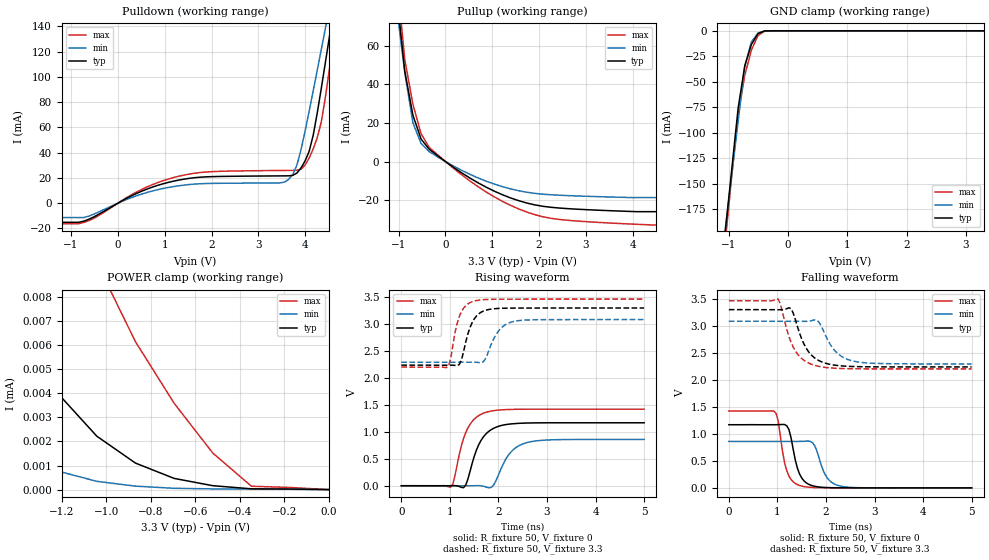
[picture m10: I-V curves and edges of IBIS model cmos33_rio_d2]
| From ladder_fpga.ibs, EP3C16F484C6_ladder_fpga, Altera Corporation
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[Model] cmos33_rio_d2
Model_type I/O
Polarity Non-Inverting
Enable Active-Low
Vinl  = 0.8V
Vinh  = 1.7V
Vmeas = 1.5425V
Rref  = 10M
Cref  = 0pF
Vref  = 0V
C_comp  4.4pF   4.4pF   4.4pF
[Temperature Range] 25   85   0
[Voltage Range]   3.3   3.085   3.465
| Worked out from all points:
|   slope of the pulldown table from 0 to 0.495 V, typ, clamps not added: 53.2 ohm
|   slope of the pullup table from 0 to 0.495 V, typ, clamps not added: 60.7 ohm
|   GND clamp passes 1 mA (typ) near -0.43 V on its own axis
|   rising waveform, R_fixture 50, V_fixture 0: 20-80 % time 311ps typ, 344ps min, 288ps max; typ from 0 V to 1.17 V
|   falling waveform, R_fixture 50, V_fixture 0: 20-80 % time 191ps typ, 226ps min, 175ps max; typ from 1.17 V to 0 V
|   rising waveform, R_fixture 50, V_fixture 3.3: 20-80 % time 225ps typ, 278ps min, 195ps max; typ from 2.24 V to 3.3 V
|   falling waveform, R_fixture 50, V_fixture 3.3: 20-80 % time 330ps typ, 353ps min, 320ps max; typ from 3.3 V to 2.24 V
[GND Clamp]
| voltage   I (typ)   I (min)   I (max)
-3.3V     -1.449A    -1.286A    -1.533A
-1.063V   -200.8mA   -197.7mA   -211mA
-950.8mV  -138.4mA   -143.3mA   -144.9mA
-839mV    -75.96mA   -88.9mA    -82.12mA
-727.1mV  -34.33mA   -34.92mA   -43.75mA
-615.2mV  -13.39mA   -10.72mA   -18.82mA
-503.4mV  -2.65mA    -2.136mA   -4.609mA
-391.5mV  -131.9uA   -144.2uA   -303.1uA
-279.7mV  -2.477uA   -5.258uA   -4.774uA
3.3V      0A         0A         0A
[Pulldown]
| voltage   I (typ)   I (min)   I (max)
-3.3V     -15.12mA   -11.37mA   -16.31mA
-839mV    -15.12mA   -11.37mA   -16.31mA
1.175V    17.34mA    13.09mA    20.17mA
3.561V    21.62mA    16.8mA     25.92mA
3.821V    23.89mA    30.18mA    26.08mA
4.082V    41.02mA    72.76mA    35.77mA
4.255V    71.52mA    105.4mA    51.87mA
4.429V    111.5mA    138.4mA    84mA
4.516V    132mA      154.9mA    106.6mA
4.603V    152.5mA    171.4mA    130.1mA
4.689V    172.9mA    187.8mA    153.8mA
6.6V      569.1mA    530.5mA    600.9mA
[POWER Clamp]
| voltage   I (typ)   I (min)   I (max)
-3.3V     255.8uA    174.6uA    337.7uA
-1.911V   28.08uA    11.14uA    68.9uA
-1.737V   17.97uA    6.876uA    39.23uA
-1.563V   11.64uA    3.732uA    28uA
-1.389V   6.958uA    1.745uA    19.82uA
-1.216V   3.98uA     766.9nA    13.7uA
-1.042V   2.218uA    344.4nA    9.42uA
-868.4mV  1.101uA    143.7nA    6.142uA
-694.7mV  465.5nA    54.34nA    3.587uA
-521.1mV  162.3nA    28.75nA    1.518uA
-347.4mV  32.72nA    21.8nA     140nA
0V        0A         0A         0A
[Pullup]
| voltage   I (typ)   I (min)   I (max)
-3.3V     652.6mA    540.6mA    746.9mA
-1.042V   86.97mA    80.08mA    97.09mA
-868.4mV  46.97mA    46.31mA    53.1mA
-694.7mV  24.06mA    20.14mA    29.78mA
-521.1mV  11.73mA    9.416mA    14.5mA
-347.4mV  6.385mA    5.129mA    7.351mA
347.4mV   -5.885mA   -4.58mA    -6.894mA
1.042V    -15.36mA   -11.7mA    -18.31mA
1.563V    -20.31mA   -15.15mA   -24.59mA
2.084V    -23.24mA   -16.95mA   -28.68mA
2.953V    -24.9mA    -17.98mA   -31.11mA
6.6V      -26.01mA   -18.71mA   -33.14mA
[Ramp]
dV/dt_r   7.014e-001/3.115e-010  5.159e-001/3.443e-010  8.532e-001/2.875e-010
dV/dt_f   6.366e-001/3.305e-010  4.740e-001/3.525e-010  7.572e-001/3.198e-010
R_load = 50ohms
[Rising Waveform]
R_fixture   = 50
V_fixture   = 0
V_fixture_min = 0
V_fixture_max = 0
| time   V (typ)   V (min)   V (max)
0s        0V         0V         0V
1.016ns   -193.3uV   -187.7uV   -26.15mV
1.06ns    995.3uV    -178.4uV   31.4mV
1.326ns   10.85mV    -289.9uV   986.1mV
1.548ns   664.3mV    1.408mV    1.273V
1.725ns   944.9mV    -18.01mV   1.358V
1.858ns   1.045V     -27.18mV   1.388V
2.212ns   1.143V     576.1mV    1.415V
2.567ns   1.164V     795.5mV    1.421V
5ns       1.169V     859.9mV    1.422V
[Falling Waveform]
R_fixture   = 50
V_fixture   = 0
V_fixture_min = 0
V_fixture_max = 0
| time   V (typ)   V (min)   V (max)
0s        1.169V     859.9mV    1.422V
971.5ps   1.169V     860mV      1.382V
1.193ns   1.149V     859.8mV    317.2mV
1.237ns   1.081V     859.8mV    220.5mV
1.37ns    508.4mV    859.9mV    80.43mV
1.459ns   252mV      860.4mV    43.21mV
1.725ns   38.21mV    834.5mV    7.37mV
1.991ns   6.808mV    233.8mV    1.317mV
2.256ns   1.246mV    42.64mV    237.5uV
5ns       5.286uV    6.755uV    4.243uV
[Rising Waveform]
R_fixture   = 50
V_fixture   = 3.3
V_fixture_min = 3.085
V_fixture_max = 3.465
| time   V (typ)   V (min)   V (max)
0s        2.239V     2.295V     2.203V
971.5ps   2.238V     2.295V     2.226V
1.104ns   2.234V     2.295V     2.839V
1.193ns   2.251V     2.295V     3.14V
1.37ns    2.819V     2.295V     3.375V
1.503ns   3.099V     2.295V     3.43V
1.68ns    3.239V     2.297V     3.454V
1.991ns   3.292V     2.86V      3.463V
2.301ns   3.298V     3.047V     3.464V
5ns       3.3V       3.085V     3.465V
[Falling Waveform]
R_fixture   = 50
V_fixture   = 3.3
V_fixture_min = 3.085
V_fixture_max = 3.465
| time   V (typ)   V (min)   V (max)
0s        3.3V       3.085V     3.465V
1.016ns   3.298V     3.084V     3.495V
1.237ns   3.334V     3.084V     2.803V
1.326ns   3.237V     3.084V     2.607V
1.548ns   2.663V     3.083V     2.362V
1.769ns   2.405V     3.112V     2.268V
1.858ns   2.355V     3.066V     2.25V
2.168ns   2.274V     2.558V     2.216V
2.522ns   2.248V     2.357V     2.206V
5ns       2.239V     2.295V     2.203V
